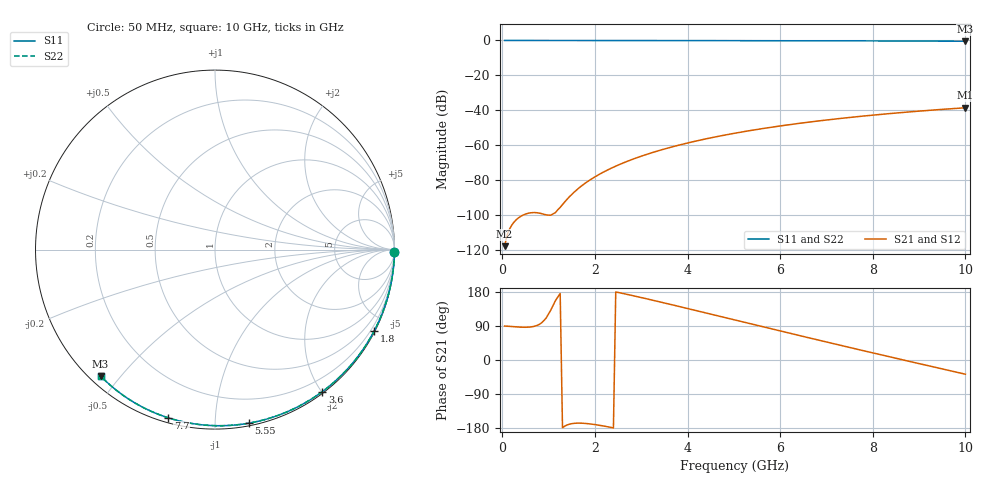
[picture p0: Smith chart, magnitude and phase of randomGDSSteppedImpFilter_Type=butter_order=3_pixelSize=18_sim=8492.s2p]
! freq	dB(S11)	phase(S11)	dB(S12)	phase(S12)
!  dB(S21)	phase(S21)	dB(S22)	phase(S22)
!S-par simulation data
#  GHz  S  DB  R 50
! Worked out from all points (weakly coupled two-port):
!   200 points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, 50 MHz to 10 GHz, reference 50 ohm
!   highest |S21| = -38.56 dB at 10 GHz (marker M1); lowest = -117.8 dB at 50 MHz (marker M2)
!   lowest |S11| = -0.4 dB at 10 GHz (marker M3), VSWR 38.89, Z = 1.54 - j22.2 ohm
!   |S11| at or under -10 dB: nowhere
!   |S22| runs from -0.4 to 0.0 dB; largest |S21 - S12| = 0
!   S11 on the Smith chart (normalised r, x): 50 MHz: open; 1.8 GHz: 0.04, -4.16; 3.6 GHz: 0.02, -2.01; 5.55 GHz: 0.02, -1.21; 7.7 GHz: 0.02, -0.76; 10 GHz: 0.03, -0.44
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0.05  -0.00 -0.8  -117.82 89.7  -117.82 89.7  -0.00 -0.8
0.45  -0.01 -6.9  -99.99 86.4  -99.99 86.4  -0.01 -6.9
0.9  -0.02 -13.6  -99.57 104.2  -99.57 104.2  -0.02 -13.6
1.75  -0.03 -26.3  -82.53 -167.0  -82.53 -167.0  -0.03 -26.3
1.8  -0.03 -27.0  -81.57 -167.4  -81.57 -167.4  -0.03 -27.0
1.9  -0.04 -28.5  -79.77 -168.7  -79.77 -168.7  -0.04 -28.5
2.05  -0.04 -30.7  -77.34 -171.3  -77.34 -171.3  -0.04 -30.7
2.25  -0.04 -33.6  -74.49 -175.6  -74.49 -175.6  -0.04 -33.6
2.45  -0.05 -36.5  -71.98 179.6  -71.98 179.6  -0.05 -36.5
2.65  -0.05 -39.4  -69.73 174.4  -69.73 174.4  -0.05 -39.4
3  -0.06 -44.4  -66.29 164.8  -66.29 164.8  -0.06 -44.4
3.4  -0.07 -50.1  -62.93 153.4  -62.93 153.4  -0.07 -50.1
3.6  -0.07 -52.9  -61.44 147.6  -61.44 147.6  -0.07 -52.9
4.3  -0.09 -62.5  -56.92 127.0  -56.92 127.0  -0.09 -62.5
5.05  -0.11 -72.5  -52.99 104.8  -52.99 104.8  -0.11 -72.5
5.55  -0.13 -79.0  -50.76 90.0  -50.76 90.0  -0.13 -79.0
6.1  -0.15 -86.0  -48.60 73.8  -48.60 73.8  -0.15 -86.0
6.7  -0.18 -93.4  -46.51 56.2  -46.51 56.2  -0.18 -93.4
7.7  -0.24 -105.5  -43.56 27.3  -43.56 27.3  -0.24 -105.5
8.35  -0.29 -113.2  -41.92 8.8  -41.92 8.8  -0.29 -113.2
9.15  -0.36 -122.4  -40.15 -13.8  -40.15 -13.8  -0.36 -122.4
10  -0.45 -132.2  -38.56 -37.5  -38.56 -37.5  -0.45 -132.2
